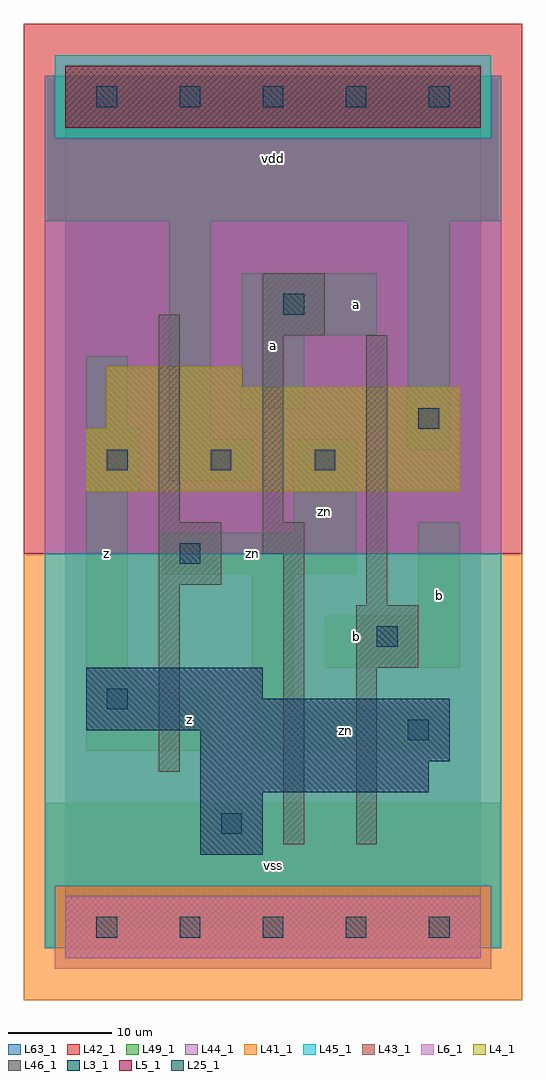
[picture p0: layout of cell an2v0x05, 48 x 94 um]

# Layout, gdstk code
import gdstk
lib = gdstk.Library(unit=1e-6, precision=1e-09)
def R(c, l, rs):  # rectangles x0, y0, x1, y1
    for r in rs: c.add(gdstk.rectangle(r[:2], r[2:], *l))
def A(c, l, x, y, w, h, nx, ny, dx, dy):  # array of equal rectangles
    R(c, l, [(x+i*dx, y+j*dy, x+i*dx+w, y+j*dy+h) for i in range(nx) for j in range(ny)])
L3_1 = (3, 1)
L4_1 = (4, 1)
L5_1 = (5, 1)
L6_1 = (6, 1)
L25_1 = (25, 1)
L41_1 = (41, 1)
L42_1 = (42, 1)
L43_1 = (43, 1)
L44_1 = (44, 1)
L45_1 = (45, 1)
L46_1 = (46, 1)
L49_1 = (49, 1)
L63_1 = (63, 1)

an2v0x05 = lib.new_cell('an2v0x05')
R(an2v0x05, L3_1, [(13,7,19,13), (13,13,35,16), (13,16,37,19), (2,19,37,22), (2,22,19,25)])
R(an2v0x05, L4_1, [(2,42,38,48), (4,48,38,52), (4,52,17,54)])
R(an2v0x05, L5_1, [(0,77,40,83)])
R(an2v0x05, L6_1, [(0,-3,40,3), (0,-3,40,3)])
A(an2v0x05, L25_1, 3, -1, 2, 2, 5, 2, 8, 80)
A(an2v0x05, L25_1, 4, 44, 2, 2, 3, 1, 10, 0)
R(an2v0x05, L25_1, [(15,9,17,11), (33,18,35,20), (4,21,6,23), (30,27,32,29), (11,35,13,37), (34,48,36,50), (21,59,23,61)])
R(an2v0x05, L41_1, [(-4,-7,44,36)])
R(an2v0x05, L42_1, [(-4,36,44,87)])
R(an2v0x05, L43_1, [(0,-3,40,3), (13,7,19,13), (13,13,35,16), (13,16,37,19), (2,19,37,22), (2,22,19,25), (2,42,38,48), (4,48,38,52), (4,52,17,54), (0,77,40,83)])
R(an2v0x05, L44_1, [(-1,-4,41,4), (-2,36,42,76), (-2,76,-1,82), (41,76,42,82)])
R(an2v0x05, L45_1, [(-2,-2,-1,4), (41,-2,42,4), (-2,4,42,36), (-1,76,41,84)])
R(an2v0x05, L46_1, [(21,8,23,36), (28,8,30,25), (9,15,11,33), (28,25,34,31), (29,31,31,57), (9,33,15,39), (19,36,23,39), (9,39,11,59), (19,39,21,57), (19,57,25,63)])
R(an2v0x05, L49_1, [(-2,-2,42,12), (2,17,14,23), (18,17,37,21), (18,21,22,34), (2,23,7,25), (2,25,6,42), (25,25,38,30), (34,30,38,39), (9,34,28,38), (22,38,28,47), (2,42,7,48), (10,43,18,47), (33,46,37,68), (10,47,14,68), (2,48,6,55), (17,50,23,57), (17,57,30,63), (-2,68,42,82)])
R(an2v0x05, L63_1, [(0,0,40,80)])
an2v0x05.add(gdstk.Label('z', (4,36), layer=49, texttype=1))
an2v0x05.add(gdstk.Label('z', (12,20), layer=49, texttype=1))
an2v0x05.add(gdstk.Label('vss', (20,6), layer=49, texttype=1))
an2v0x05.add(gdstk.Label('zn', (18,36), layer=49, texttype=1))
an2v0x05.add(gdstk.Label('b', (28,28), layer=49, texttype=1))
an2v0x05.add(gdstk.Label('zn', (25,40), layer=49, texttype=1))
an2v0x05.add(gdstk.Label('a', (20,56), layer=49, texttype=1))
an2v0x05.add(gdstk.Label('a', (28,60), layer=49, texttype=1))
an2v0x05.add(gdstk.Label('vdd', (20,74), layer=49, texttype=1))
an2v0x05.add(gdstk.Label('zn', (27,19), layer=49, texttype=1))
an2v0x05.add(gdstk.Label('b', (36,32), layer=49, texttype=1))

lib.write_gds('an2v0x05.gds')
